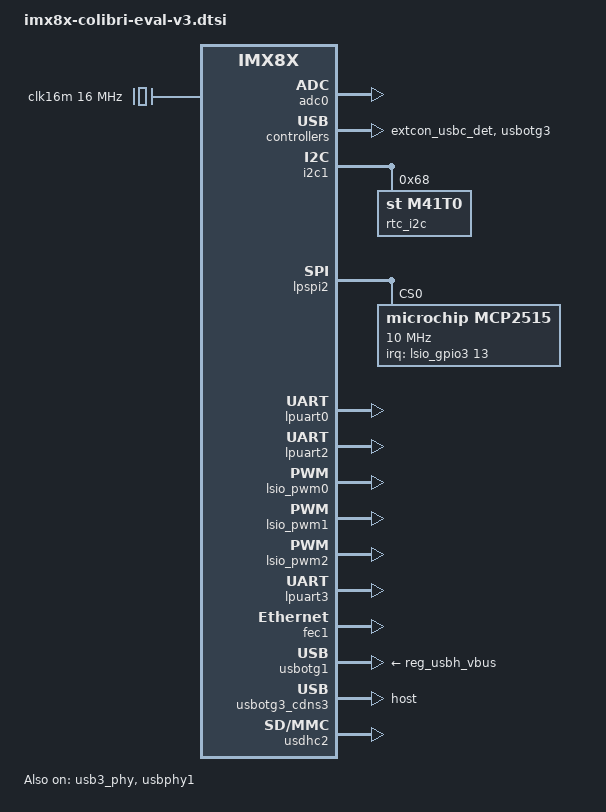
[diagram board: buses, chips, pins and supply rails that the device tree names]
// SPDX-License-Identifier: GPL-2.0-or-later OR MIT
/*
 * Copyright 2019 Toradex
 */

#include "dt-bindings/input/linux-event-codes.h"

/ {
	aliases {
		rtc0 = &rtc_i2c;
		rtc1 = &rtc;
	};

	/* fixed crystal dedicated to mcp25xx */
	clk16m: clock-16mhz {
		compatible = "fixed-clock";
		#clock-cells = <0>;
		clock-frequency = <16000000>;
	};
};

/* Colibri Analogue Inputs */
&adc0 {
	status = "okay";
};

&colibri_gpio_keys {
	status = "okay";
};

&extcon_usbc_det {
	status = "okay";
};

&i2c1 {
	status = "okay";

	/* M41T0M6 real time clock on carrier board */
	rtc_i2c: rtc@68 {
		compatible = "st,m41t0";
		reg = <0x68>;
	};
};

&iomuxc {
	pinctrl-names = "default";
	pinctrl-0 = <&pinctrl_ext_io0>, <&pinctrl_hog0>, <&pinctrl_hog1>,
		    <&pinctrl_lpspi2_cs2>;
};

/* Colibri SPI */
&lpspi2 {
	status = "okay";

	mcp2515: can@0 {
		compatible = "microchip,mcp2515";
		reg = <0>;
		interrupt-parent = <&lsio_gpio3>;
		interrupts = <13 IRQ_TYPE_EDGE_FALLING>;
		pinctrl-0 = <&pinctrl_can_int>;
		pinctrl-names = "default";
		clocks = <&clk16m>;
		spi-max-frequency = <10000000>;
	};
};

/* Colibri UART_B */
&lpuart0 {
	status= "okay";
};

/* Colibri UART_C */
&lpuart2 {
	status= "okay";
};

&lsio_gpio3 {
	/*
	 * Add GPIO3_10 as a wakeup source:
	 * Pin:  157	SC_P_QSPI0A_DATA1 (SODIMM_45)
	 * Type: 6	SC_PAD_WAKEUP_RISE_EDGE
	 * Line: 10	GPIO3_IO10
	 */
	pad-wakeup = <IMX8QXP_QSPI0A_DATA1 6 10>;
	pad-wakeup-num = <1>;
 };

/* Colibri PWM_B */
&lsio_pwm0 {
	status = "okay";
};

/* Colibri PWM_C */
&lsio_pwm1 {
	status = "okay";
};

/* Colibri PWM_D */
&lsio_pwm2 {
	status = "okay";
};

/* Colibri UART_A */
&lpuart3 {
	status= "okay";
};

/* Colibri FastEthernet */
&fec1 {
	status = "okay";
};

&reg_usbh_vbus {
	status = "okay";
};

/* USB PHY for &usbotg3 */
&usb3_phy {
	status = "okay";
};

&usbotg1 {
	extcon = <&extcon_usbc_det &extcon_usbc_det>;
	vbus-supply = <&reg_usbh_vbus>;
	srp-disable;
	hnp-disable;
	adp-disable;
	power-active-high;
	disable-over-current;
	status = "okay";
};

&usbotg3 {
	status = "okay";
};

&usbotg3_cdns3 {
	dr_mode = "host";
	status = "okay";
};

/* USB PHY for &usbotg1 */
&usbphy1 {
	status = "okay";
};

/* Colibri SD/MMC Card */
&usdhc2 {
	status = "okay";
};
